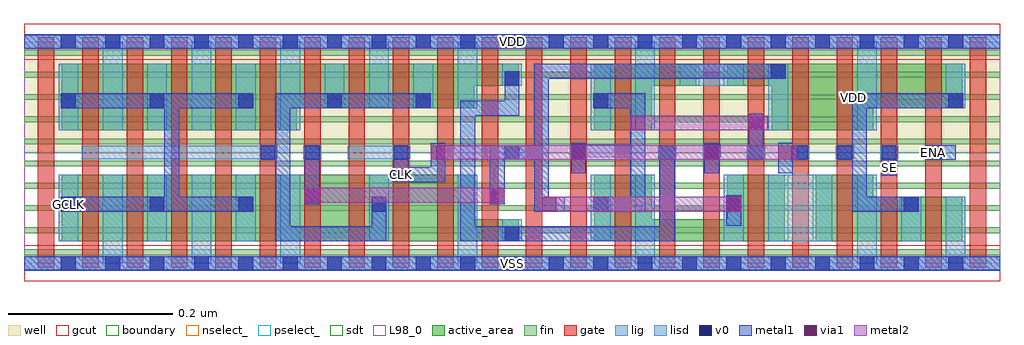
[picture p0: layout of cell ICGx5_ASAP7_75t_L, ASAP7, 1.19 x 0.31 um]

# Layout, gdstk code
import gdstk
lib = gdstk.Library(unit=1e-6, precision=2.5e-10)
def R(c, l, rs):  # rectangles x0, y0, x1, y1
    for r in rs: c.add(gdstk.rectangle(r[:2], r[2:], *l))
def A(c, l, x, y, w, h, nx, ny, dx, dy):  # array of equal rectangles
    R(c, l, [(x+i*dx, y+j*dy, x+i*dx+w, y+j*dy+h) for i in range(nx) for j in range(ny)])
def P(c, l, *ps):  # polygons
    for p in ps: c.add(gdstk.Polygon(p, *l))
well = (1, 0)
fin = (2, 0)
gate = (7, 0)
gcut = (10, 0)
active_area = (11, 0)
nselect_ = (12, 0)
pselect_ = (13, 0)
lig = (16, 0)
lisd = (17, 0)
v0 = (18, 0)
metal1 = (19, 0)
metal2 = (20, 0)
via1 = (21, 0)
sdt = (88, 0)
L98_0 = (98, 0)
boundary = (100, 0)

icgx5_asap7_75t_l = lib.new_cell('ICGx5_ASAP7_75t_L')
R(icgx5_asap7_75t_l, well, [(0,0.135,1.188,0.27)])
A(icgx5_asap7_75t_l, fin, 0, 0.01, 1.188, 0.007, 1, 10, 0, 0.027)
A(icgx5_asap7_75t_l, gate, 0.017, -0.005, 0.02, 0.28, 22, 1, 0.054, 0)
R(icgx5_asap7_75t_l, gcut, [(0,-0.022,1.188,0.022), (0,0.248,1.188,0.292)])
P(icgx5_asap7_75t_l, active_area, [(0.764,0.108),(0.694,0.108),(0.694,0.027),(0.926,0.027),(0.926,0.108),(0.856,0.108),(0.856,0.054),(0.764,0.054)],
  [(1.034,0.108),(0.964,0.108),(0.964,0.027),(1.142,0.027),(1.142,0.081),(1.034,0.081)],
  [(0.046,0.027),(0.602,0.027),(0.602,0.054),(0.548,0.054),(0.548,0.108),(0.046,0.108)],
  [(0.694,0.162),(0.764,0.162),(0.764,0.216),(0.818,0.216),(0.818,0.243),(0.694,0.243)],
  [(1.142,0.243),(0.856,0.243),(0.856,0.216),(0.91,0.216),(0.91,0.162),(1.034,0.162),(1.034,0.189),(1.142,0.189)],
  [(0.548,0.216),(0.602,0.216),(0.602,0.243),(0.046,0.243),(0.046,0.162),(0.332,0.162),(0.332,0.189),(0.548,0.189)])
R(icgx5_asap7_75t_l, nselect_, [(0,0,1.188,0.135)])
R(icgx5_asap7_75t_l, pselect_, [(0,0.135,1.188,0.27)])
A(icgx5_asap7_75t_l, lig, 0.88, 0.127, 0.022, 0.016, 5, 1, 0.054, 0)
R(icgx5_asap7_75t_l, lig, [(0,-0.008,1.188,0.008), (0.07,0.127,0.308,0.143), (0.34,0.127,0.362,0.143), (0.394,0.127,0.47,0.143), (0.502,0.127,0.632,0.143), (0.772,0.127,0.794,0.143), (0.664,0.129,0.74,0.145), (0.826,0.129,0.848,0.145), (0,0.262,1.188,0.278)])
A(icgx5_asap7_75t_l, lisd, 0.096, 0, 0.024, 0.108, 3, 2, 0.108, 0.162)
A(icgx5_asap7_75t_l, lisd, 0.042, 0.027, 0.024, 0.081, 3, 2, 0.108, 0.135)
R(icgx5_asap7_75t_l, lisd, [(0.528,0,0.552,0.108), (0.744,0,0.768,0.108), (1.014,0,1.038,0.108), (1.122,0,1.146,0.081), (0.42,0.027,0.444,0.108), (0.582,0.027,0.606,0.054), (0.69,0.027,0.714,0.108), (0.852,0.027,0.876,0.108), (0.906,0.027,0.984,0.108), (1.068,0.027,1.092,0.081), (0.69,0.162,0.714,0.243), (0.744,0.162,0.768,0.27), (0.906,0.162,0.93,0.243), (1.014,0.162,1.038,0.27), (0.366,0.189,0.39,0.243), (0.42,0.189,0.444,0.27), (0.474,0.189,0.498,0.243), (0.528,0.189,0.552,0.27), (1.122,0.189,1.146,0.243), (0.582,0.216,0.606,0.243), (0.798,0.216,0.876,0.243)])
A(icgx5_asap7_75t_l, v0, 0.045, -0.009, 0.018, 0.018, 21, 2, 0.054, 0.27)
A(icgx5_asap7_75t_l, v0, 0.045, 0.063, 0.018, 0.018, 3, 1, 0.108, 0)
A(icgx5_asap7_75t_l, v0, 0.882, 0.126, 0.018, 0.018, 5, 1, 0.054, 0)
A(icgx5_asap7_75t_l, v0, 0.045, 0.189, 0.018, 0.018, 5, 1, 0.108, 0)
R(icgx5_asap7_75t_l, v0, [(0.585,0.027,0.603,0.045), (0.423,0.063,0.441,0.081), (0.693,0.063,0.711,0.081), (1.071,0.063,1.089,0.081), (0.855,0.065,0.873,0.083), (0.288,0.126,0.306,0.144), (0.342,0.126,0.36,0.144), (0.45,0.126,0.468,0.144), (0.585,0.126,0.603,0.144), (0.774,0.126,0.792,0.144), (0.666,0.128,0.684,0.146), (0.828,0.128,0.846,0.146), (0.693,0.189,0.711,0.207), (1.125,0.189,1.143,0.207), (0.585,0.216,0.603,0.234), (0.909,0.225,0.927,0.243)])
R(icgx5_asap7_75t_l, metal1, [(0,-0.009,1.188,0.009), (0.855,0.046,0.873,0.083), (0.342,0.072,0.36,0.144), (1.044,0.107,1.062,0.144), (0.666,0.11,0.684,0.146), (0.828,0.11,0.846,0.146), (0.882,0.126,0.9,0.182), (1.098,0.126,1.134,0.144), (0,0.261,1.188,0.279)])
P(icgx5_asap7_75t_l, metal1, [(0.513,0.146),(0.495,0.146),(0.495,0.117),(0.468,0.117),(0.468,0.144),(0.45,0.144),(0.45,0.099),(0.513,0.099)],
  [(0.756,0.207),(0.693,0.207),(0.693,0.189),(0.738,0.189),(0.738,0.081),(0.693,0.081),(0.693,0.063),(0.756,0.063)],
  [(0.279,0.081),(0.189,0.081),(0.189,0.189),(0.279,0.189),(0.279,0.207),(0.045,0.207),(0.045,0.189),(0.171,0.189),(0.171,0.081),(0.045,0.081),(0.045,0.063),(0.279,0.063)],
  [(0.441,0.081),(0.423,0.081),(0.423,0.045),(0.324,0.045),(0.324,0.189),(0.495,0.189),(0.495,0.207),(0.306,0.207),(0.306,0.144),(0.288,0.144),(0.288,0.126),(0.306,0.126),(0.306,0.027),(0.441,0.027)],
  [(1.143,0.207),(1.008,0.207),(1.008,0.144),(0.99,0.144),(0.99,0.126),(1.008,0.126),(1.008,0.063),(1.089,0.063),(1.089,0.081),(1.026,0.081),(1.026,0.189),(1.143,0.189)],
  [(0.927,0.243),(0.621,0.243),(0.621,0.144),(0.567,0.144),(0.567,0.072),(0.585,0.072),(0.585,0.126),(0.621,0.126),(0.621,0.063),(0.658,0.063),(0.658,0.081),(0.639,0.081),(0.639,0.225),(0.927,0.225)],
  [(0.792,0.144),(0.774,0.144),(0.774,0.045),(0.549,0.045),(0.549,0.18),(0.603,0.18),(0.603,0.234),(0.585,0.234),(0.585,0.198),(0.531,0.198),(0.531,0.027),(0.792,0.027)],
  [(0.954,0.144),(0.936,0.144),(0.936,0.147),(0.918,0.147),(0.918,0.11),(0.936,0.11),(0.936,0.126),(0.954,0.126)])
R(icgx5_asap7_75t_l, metal2, [(0.63,0.063,0.873,0.081), (0.342,0.074,0.585,0.092), (0.495,0.126,0.941,0.144), (0.738,0.162,0.905,0.18)])
R(icgx5_asap7_75t_l, via1, [(0.63,0.063,0.648,0.081), (0.855,0.063,0.873,0.081), (0.342,0.074,0.36,0.092), (0.567,0.074,0.585,0.092), (0.495,0.126,0.513,0.144), (0.666,0.126,0.684,0.144), (0.828,0.126,0.846,0.144), (0.918,0.126,0.936,0.144), (0.738,0.162,0.756,0.18), (0.882,0.162,0.9,0.18)])
A(icgx5_asap7_75t_l, sdt, 0.042, 0.027, 0.024, 0.081, 6, 2, 0.054, 0.135)
A(icgx5_asap7_75t_l, sdt, 0.852, 0.027, 0.024, 0.081, 4, 1, 0.054, 0)
A(icgx5_asap7_75t_l, sdt, 0.366, 0.189, 0.024, 0.054, 4, 1, 0.054, 0)
R(icgx5_asap7_75t_l, sdt, [(0.42,0.027,0.444,0.108), (0.528,0.027,0.552,0.108), (0.582,0.027,0.606,0.054), (0.69,0.027,0.714,0.108), (0.744,0.027,0.768,0.108), (1.068,0.027,1.092,0.081), (1.122,0.027,1.146,0.081), (0.69,0.162,0.714,0.243), (0.744,0.162,0.768,0.243), (0.906,0.162,0.93,0.243), (1.014,0.162,1.038,0.243), (1.122,0.189,1.146,0.243), (0.582,0.216,0.606,0.243), (0.798,0.216,0.822,0.243), (0.852,0.216,0.876,0.243)])
R(icgx5_asap7_75t_l, L98_0, [(0,0,1.188,0.27)])
R(icgx5_asap7_75t_l, boundary, [(0,0,1.188,0.27)])
icgx5_asap7_75t_l.add(gdstk.Label('SE', (1.053,0.117), layer=19, texttype=251))
icgx5_asap7_75t_l.add(gdstk.Label('GCLK', (0.054,0.072), layer=19, texttype=251))
icgx5_asap7_75t_l.add(gdstk.Label('ENA', (1.107,0.135), layer=19, texttype=251))
icgx5_asap7_75t_l.add(gdstk.Label('CLK', (0.459,0.108), layer=19, texttype=251))
icgx5_asap7_75t_l.add(gdstk.Label('VSS', (0.594,0), layer=19, texttype=251))
icgx5_asap7_75t_l.add(gdstk.Label('VDD', (0.594,0.27), layer=19, texttype=251))
icgx5_asap7_75t_l.add(gdstk.Label('VDD', (1.0097,0.2025), layer=1, texttype=251))
icgx5_asap7_75t_l.add(gdstk.Label('VSS', (1.3662,0.2025), layer=3, texttype=251))

lib.write_gds('ICGx5_ASAP7_75t_L.gds')
